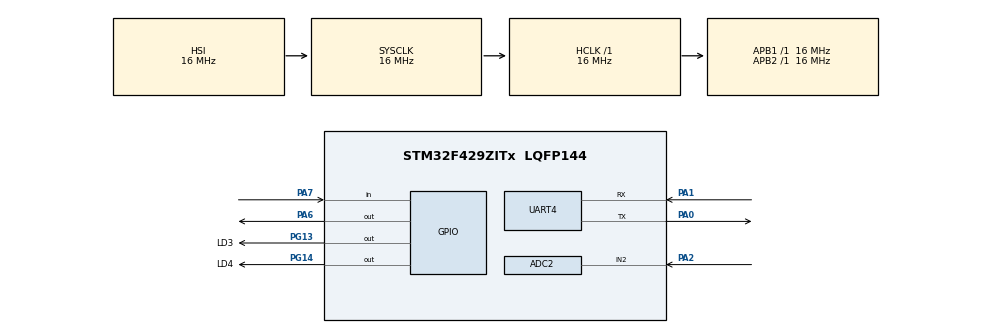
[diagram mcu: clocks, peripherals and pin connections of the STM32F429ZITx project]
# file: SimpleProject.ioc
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ADC1.Channel-1\#ChannelRegularConversion=ADC_CHANNEL_TEMPSENSOR
ADC1.NbrOfConversionFlag=1
ADC1.Rank-1\#ChannelRegularConversion=1
ADC1.SamplingTime-1\#ChannelRegularConversion=ADC_SAMPLETIME_3CYCLES
ADC1.master=1
ADC2.Channel-0\#ChannelRegularConversion=ADC_CHANNEL_2
ADC2.EnableAnalogWatchDog=false
ADC2.NbrOfConversionFlag=1
ADC2.Rank-0\#ChannelRegularConversion=1
ADC2.SamplingTime-0\#ChannelRegularConversion=ADC_SAMPLETIME_3CYCLES
Mcu.Family=STM32F4
Mcu.Name=STM32F429ZITx
Mcu.Package=LQFP144
NVIC.PriorityGroup=NVIC_PRIORITYGROUP_4
PA0/WKUP.Mode=Asynchronous
PA0/WKUP.Signal=UART4_TX
PA1.Mode=Asynchronous
PA1.Signal=UART4_RX
PA13.Mode=Serial_Wire
PA13.Signal=SYS_JTMS-SWDIO
PA14.Mode=Serial_Wire
PA14.Signal=SYS_JTCK-SWCLK
PA2.Signal=ADCx_IN2
PA6.Signal=GPIO_Output
PA7.Signal=GPIO_Input
PG13.GPIO_Label=LD3
PG13.Signal=GPIO_Output
PG14.GPIO_Label=LD4
PG14.Signal=GPIO_Output
ProjectManager.HeapSize=0x200
ProjectManager.StackSize=0x400
ProjectManager.TargetToolchain=STM32CubeIDE
RCC.AHBFreq_Value=16000000
RCC.APB1Freq_Value=16000000
RCC.APB2Freq_Value=16000000
RCC.CortexFreq_Value=16000000
RCC.HSE_VALUE=25000000
RCC.HSI_VALUE=16000000
RCC.LSE_VALUE=32768
RCC.SYSCLKFreq_VALUE=16000000
RCC.VCOOutputFreq_Value=192000000
SH.ADCx_IN2.0=ADC2_IN2,IN2
UART4.VirtualMode=Asynchronous
VP_ADC1_TempSens_Input.Mode=IN-TempSens
VP_CRC_VS_CRC.Mode=CRC_Activate
VP_TIM3_VS_ClockSourceINT.Mode=Internal
board=custom

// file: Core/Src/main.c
/* USER CODE BEGIN Header */
/**
  ******************************************************************************
  * @file           : main.c
  * @brief          : Main program body
  ******************************************************************************
  * @attention
  *
  * Copyright (c) 2023 STMicroelectronics.
  * All rights reserved.
  *
  * This software is licensed under terms that can be found in the LICENSE file
  * in the root directory of this software component.
  * If no LICENSE file comes with this software, it is provided AS-IS.
  *
  ******************************************************************************
  */
/* USER CODE END Header */
#include "main.h"

/* USER CODE BEGIN PD */
#define BUFFER_SIZE 10
/* USER CODE END PD */

ADC_HandleTypeDef hadc1;
ADC_HandleTypeDef hadc2;
CRC_HandleTypeDef hcrc;
TIM_HandleTypeDef htim3;
UART_HandleTypeDef huart4;

void SystemClock_Config(void);
static void MX_GPIO_Init(void);
static void MX_CRC_Init(void);
static void MX_TIM3_Init(void);
static void MX_ADC1_Init(void);
static void MX_ADC2_Init(void);
static void MX_UART4_Init(void);

int main(void)
{

  /* MCU Configuration--------------------------------------------------------*/

  /* Reset of all peripherals, Initializes the Flash interface and the Systick. */
  HAL_Init();

  /* Configure the system clock */
  SystemClock_Config();

  /* Initialize all configured peripherals */
  MX_GPIO_Init();
  MX_CRC_Init();
  MX_TIM3_Init();
  MX_ADC1_Init();
  MX_ADC2_Init();
  MX_UART4_Init();
  /* USER CODE BEGIN 2 */

  uint16_t adc_value = 0;
  uint32_t last_led_time = 0;
  uint32_t last_uart_time = 0;
  uint32_t last_flash_time = 0;
  uint8_t buffer[BUFFER_SIZE] = {0};
  uint8_t buffer_index = 0;
  uint32_t flash_address = 0x08080000; // start address of flash memory for data storage

  /* USER CODE END 2 */

  /* Infinite loop */
  while (1)
  {

    /* USER CODE BEGIN 3 */

	  // read ADC value
	     HAL_ADC_Start(&hadc1);
	     HAL_ADC_PollForConversion(&hadc1, HAL_MAX_DELAY);
	     adc_value = HAL_ADC_GetValue(&hadc1);

	     // control LED brightness based on ADC value
	     if (HAL_GetTick() - last_led_time >= adc_value)
	     {
	       HAL_GPIO_TogglePin(GPIOG, GPIO_PIN_14);
	       last_led_time = HAL_GetTick();
	     }

	     // send ADC value over UART every second
	     if (HAL_GetTick() - last_uart_time >= 1000)
	     {
	       char uart_buffer[10];
	       sprintf(uart_buffer, "%d\n", adc_value);
	       HAL_UART_Transmit(&huart4, (uint8_t *)uart_buffer, strlen(uart_buffer), HAL_MAX_DELAY);
	       last_uart_time = HAL_GetTick();
	     }

	     // store ADC value in flash memory every five seconds
	     if (HAL_GetTick() - last_flash_time >= 5000)
	     {
	       buffer[buffer_index++] = adc_value;

	       // if buffer is full, write it to flash memory and clear the buffer
	       if (buffer_index >= BUFFER_SIZE)
	       {
	         HAL_FLASH_Unlock();
	         for (uint8_t i = 0; i < BUFFER_SIZE; i++)
	         {
	           HAL_FLASH_Program(FLASH_TYPEPROGRAM_HALFWORD, flash_address, buffer[i]);
	           flash_address += 2;
	         }
	         HAL_FLASH_Lock();

	         buffer_index = 0;
	         memset(buffer, 0, sizeof(buffer));
	       }

	       last_flash_time = HAL_GetTick();
	     }

  }
  /* USER CODE END 3 */
}

void SystemClock_Config(void)
{
  RCC_OscInitTypeDef RCC_OscInitStruct = {0};
  RCC_ClkInitTypeDef RCC_ClkInitStruct = {0};

  /** Configure the main internal regulator output voltage
  */
  __HAL_RCC_PWR_CLK_ENABLE();
  __HAL_PWR_VOLTAGESCALING_CONFIG(PWR_REGULATOR_VOLTAGE_SCALE3);

  /** Initializes the RCC Oscillators according to the specified parameters
  * in the RCC_OscInitTypeDef structure.
  */
  RCC_OscInitStruct.OscillatorType = RCC_OSCILLATORTYPE_HSI;
  RCC_OscInitStruct.HSIState = RCC_HSI_ON;
  RCC_OscInitStruct.HSICalibrationValue = RCC_HSICALIBRATION_DEFAULT;
  RCC_OscInitStruct.PLL.PLLState = RCC_PLL_NONE;
  if (HAL_RCC_OscConfig(&RCC_OscInitStruct) != HAL_OK)
  {
    Error_Handler();
  }

  /** Initializes the CPU, AHB and APB buses clocks
  */
  RCC_ClkInitStruct.ClockType = RCC_CLOCKTYPE_HCLK|RCC_CLOCKTYPE_SYSCLK
                              |RCC_CLOCKTYPE_PCLK1|RCC_CLOCKTYPE_PCLK2;
  RCC_ClkInitStruct.SYSCLKSource = RCC_SYSCLKSOURCE_HSI;
  RCC_ClkInitStruct.AHBCLKDivider = RCC_SYSCLK_DIV1;
  RCC_ClkInitStruct.APB1CLKDivider = RCC_HCLK_DIV1;
  RCC_ClkInitStruct.APB2CLKDivider = RCC_HCLK_DIV1;

  if (HAL_RCC_ClockConfig(&RCC_ClkInitStruct, FLASH_LATENCY_0) != HAL_OK)
  {
    Error_Handler();
  }
}

static void MX_ADC1_Init(void)
{

  ADC_ChannelConfTypeDef sConfig = {0};

  /** Configure the global features of the ADC (Clock, Resolution, Data Alignment and number of conversion)
  */
  hadc1.Instance = ADC1;
  hadc1.Init.ClockPrescaler = ADC_CLOCK_SYNC_PCLK_DIV2;
  hadc1.Init.Resolution = ADC_RESOLUTION_12B;
  hadc1.Init.ScanConvMode = DISABLE;
  hadc1.Init.ContinuousConvMode = DISABLE;
  hadc1.Init.DiscontinuousConvMode = DISABLE;
  hadc1.Init.ExternalTrigConvEdge = ADC_EXTERNALTRIGCONVEDGE_NONE;
  hadc1.Init.ExternalTrigConv = ADC_SOFTWARE_START;
  hadc1.Init.DataAlign = ADC_DATAALIGN_RIGHT;
  hadc1.Init.NbrOfConversion = 1;
  hadc1.Init.DMAContinuousRequests = DISABLE;
  hadc1.Init.EOCSelection = ADC_EOC_SINGLE_CONV;
  if (HAL_ADC_Init(&hadc1) != HAL_OK)
  {
    Error_Handler();
  }

  /** Configure for the selected ADC regular channel its corresponding rank in the sequencer and its sample time.
  */
  sConfig.Channel = ADC_CHANNEL_TEMPSENSOR;
  sConfig.Rank = 1;
  sConfig.SamplingTime = ADC_SAMPLETIME_3CYCLES;
  if (HAL_ADC_ConfigChannel(&hadc1, &sConfig) != HAL_OK)
  {
    Error_Handler();
  }

}

static void MX_ADC2_Init(void)
{

  ADC_ChannelConfTypeDef sConfig = {0};

  /** Configure the global features of the ADC (Clock, Resolution, Data Alignment and number of conversion)
  */
  hadc2.Instance = ADC2;
  hadc2.Init.ClockPrescaler = ADC_CLOCK_SYNC_PCLK_DIV2;
  hadc2.Init.Resolution = ADC_RESOLUTION_12B;
  hadc2.Init.ScanConvMode = DISABLE;
  hadc2.Init.ContinuousConvMode = DISABLE;
  hadc2.Init.DiscontinuousConvMode = DISABLE;
  hadc2.Init.ExternalTrigConvEdge = ADC_EXTERNALTRIGCONVEDGE_NONE;
  hadc2.Init.ExternalTrigConv = ADC_SOFTWARE_START;
  hadc2.Init.DataAlign = ADC_DATAALIGN_RIGHT;
  hadc2.Init.NbrOfConversion = 1;
  hadc2.Init.DMAContinuousRequests = DISABLE;
  hadc2.Init.EOCSelection = ADC_EOC_SINGLE_CONV;
  if (HAL_ADC_Init(&hadc2) != HAL_OK)
  {
    Error_Handler();
  }

  /** Configure for the selected ADC regular channel its corresponding rank in the sequencer and its sample time.
  */
  sConfig.Channel = ADC_CHANNEL_2;
  sConfig.Rank = 1;
  sConfig.SamplingTime = ADC_SAMPLETIME_3CYCLES;
  if (HAL_ADC_ConfigChannel(&hadc2, &sConfig) != HAL_OK)
  {
    Error_Handler();
  }

}

static void MX_CRC_Init(void)
{

  hcrc.Instance = CRC;
  if (HAL_CRC_Init(&hcrc) != HAL_OK)
  {
    Error_Handler();
  }

}

static void MX_TIM3_Init(void)
{

  TIM_ClockConfigTypeDef sClockSourceConfig = {0};
  TIM_MasterConfigTypeDef sMasterConfig = {0};

  htim3.Instance = TIM3;
  htim3.Init.Prescaler = 0;
  htim3.Init.CounterMode = TIM_COUNTERMODE_UP;
  htim3.Init.Period = 65535;
  htim3.Init.ClockDivision = TIM_CLOCKDIVISION_DIV1;
  htim3.Init.AutoReloadPreload = TIM_AUTORELOAD_PRELOAD_DISABLE;
  if (HAL_TIM_Base_Init(&htim3) != HAL_OK)
  {
    Error_Handler();
  }
  sClockSourceConfig.ClockSource = TIM_CLOCKSOURCE_INTERNAL;
  if (HAL_TIM_ConfigClockSource(&htim3, &sClockSourceConfig) != HAL_OK)
  {
    Error_Handler();
  }
  sMasterConfig.MasterOutputTrigger = TIM_TRGO_RESET;
  sMasterConfig.MasterSlaveMode = TIM_MASTERSLAVEMODE_DISABLE;
  if (HAL_TIMEx_MasterConfigSynchronization(&htim3, &sMasterConfig) != HAL_OK)
  {
    Error_Handler();
  }

}

static void MX_UART4_Init(void)
{

  /* USER CODE BEGIN UART4_Init 0 */
	GPIO_InitTypeDef  GPIO_InitStruct;

	/*##-1- Enable peripherals and GPIO Clocks #################################*/
	/* Enable GPIO TX/RX clock */
	__HAL_RCC_USART1_CLK_ENABLE();
	__HAL_RCC_GPIOA_CLK_ENABLE();

	  /*##-2- Configure peripheral GPIO ##########################################*/
	  /* UART TX GPIO pin configuration  */
	  GPIO_InitStruct.Pin       = GPIO_PIN_9;
	  GPIO_InitStruct.Mode      = GPIO_MODE_AF_PP;
	  GPIO_InitStruct.Pull      = GPIO_NOPULL;
	  GPIO_InitStruct.Speed     = GPIO_SPEED_FAST;
	  GPIO_InitStruct.Alternate = GPIO_AF7_USART1;

  /* USER CODE END UART4_Init 0 */

  huart4.Instance = UART4;
  huart4.Init.BaudRate = 115200;
  huart4.Init.WordLength = UART_WORDLENGTH_8B;
  huart4.Init.StopBits = UART_STOPBITS_1;
  huart4.Init.Parity = UART_PARITY_NONE;
  huart4.Init.Mode = UART_MODE_TX_RX;
  huart4.Init.HwFlowCtl = UART_HWCONTROL_NONE;
  huart4.Init.OverSampling = UART_OVERSAMPLING_16;
  if (HAL_UART_Init(&huart4) != HAL_OK)
  {
    Error_Handler();
  }

}

static void MX_GPIO_Init(void)
{
  GPIO_InitTypeDef GPIO_InitStruct = {0};

  /* GPIO Ports Clock Enable */
  __HAL_RCC_GPIOA_CLK_ENABLE();
  __HAL_RCC_GPIOG_CLK_ENABLE();

  /*Configure GPIO pin Output Level */
  HAL_GPIO_WritePin(GPIOA, GPIO_PIN_6, GPIO_PIN_RESET);

  /*Configure GPIO pin Output Level */
  HAL_GPIO_WritePin(GPIOG, LD3_Pin|LD4_Pin, GPIO_PIN_RESET);

  /*Configure GPIO pin : PA6 */
  GPIO_InitStruct.Pin = GPIO_PIN_6;
  GPIO_InitStruct.Mode = GPIO_MODE_OUTPUT_PP;
  GPIO_InitStruct.Pull = GPIO_NOPULL;
  GPIO_InitStruct.Speed = GPIO_SPEED_FREQ_LOW;
  HAL_GPIO_Init(GPIOA, &GPIO_InitStruct);

  /*Configure GPIO pin : PA7 */
  GPIO_InitStruct.Pin = GPIO_PIN_7;
  GPIO_InitStruct.Mode = GPIO_MODE_INPUT;
  GPIO_InitStruct.Pull = GPIO_NOPULL;
  HAL_GPIO_Init(GPIOA, &GPIO_InitStruct);

  /*Configure GPIO pins : LD3_Pin LD4_Pin */
  GPIO_InitStruct.Pin = LD3_Pin|LD4_Pin;
  GPIO_InitStruct.Mode = GPIO_MODE_OUTPUT_PP;
  GPIO_InitStruct.Pull = GPIO_NOPULL;
  GPIO_InitStruct.Speed = GPIO_SPEED_FREQ_LOW;
  HAL_GPIO_Init(GPIOG, &GPIO_InitStruct);

}

void Error_Handler(void)
{
  __disable_irq();
  while (1)
  {
  }
}
